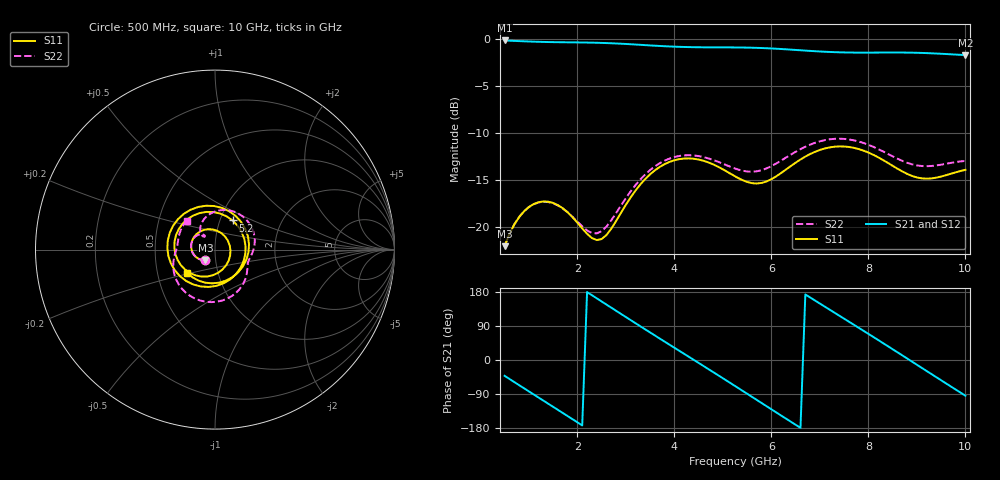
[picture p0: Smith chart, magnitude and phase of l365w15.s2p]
! Touchstone file exported from HFSS 3D Layout Design 2026.1.0
!  File:  D:/Work/ADS/HFSS_VERDICT/hfss_sma_connector_cpw.aedt
!  Generated:  02:39:46 PM Aug  6, 2026
!  Design:  SINGLE_END_SMA_CPW_30MM
!  Project:  hfss_sma_connector_cpw
! Variables:
!  $sma_Base_D = 6.25mm
!  $sma_Base_L = 8mm
!  $sma_Feet_L = 4mm
!  $sma_Feet_W = 1mm
!  $sma_Front_L = 1.5mm
!  $sma_Front_W = 6.5mm
!  $sma_Hole_D = 1.25mm
!  $sma_PTFE_D = 4.2mm
!  $sma_Pin_D = 0.95mm
!  $sma_Pin_P = 1.7mm
# GHz S MA R 50.000000
! Terminal data exported
! Port[1] = Port1
! Port[2] = S1_1_Pin_T1
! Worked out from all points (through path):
!   96 points, 500 MHz to 10 GHz, reference 50 ohm
!   highest |S21| = -0.12 dB at 500 MHz (marker M1); lowest = -1.7 dB at 10 GHz (marker M2)
!   group delay of S21, straight-line fit = 226 ps
!   lowest |S11| = -22.0 dB at 500 MHz (marker M3), VSWR 1.17, Z = 44.6 - j5.24 ohm
!   |S11| at or under -10 dB: start of sweep to end of sweep
!   |S22| runs from -22.0 to -10.6 dB; largest |S21 - S12| = 3.3e-14
!   S11 on the Smith chart (normalised r, x): 500 MHz: 0.89, -0.10; 5.2 GHz: 1.15, +0.39; 10 GHz: 0.71, -0.19
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0.5  0.07905 -132.4  0.9868 -41.8  0.9868 -41.8  0.07938 -133.0
0.9  0.1212 -166.4  0.9766 -74.6  0.9766 -74.6  0.1212 -165.7
1.3  0.1369 158.5  0.9692 -107.3  0.9692 -107.3  0.1363 164.4
1.7  0.1258 119.1  0.9652 -139.8  0.9652 -139.8  0.1255 139.6
2.1  0.09834 68.6  0.9626 -172.6  0.9626 -172.6  0.1008 126.5
2.5  0.08626 -2.8  0.9576 154.5  0.9576 154.5  0.09503 131.1
3  0.1313 -83.1  0.9451 113.4  0.9451 113.4  0.1425 125.4
3.3  0.1688 -117.1  0.9352 88.9  0.9352 88.9  0.1794 110.3
3.7  0.2092 -155.7  0.9222 56.5  0.9222 56.5  0.2188 84.8
4.4  0.2311 141.6  0.9086 0.3  0.9086 0.3  0.2407 37.4
4.8  0.2156 103.1  0.9066 -31.9  0.9066 -31.9  0.2277 13.1
5.2  0.1895 58.9  0.9059 -64.5  0.9059 -64.5  0.2073 -6.2
5.3  0.1833 46.5  0.9055 -72.6  0.9055 -72.6  0.203 -10.0
5.7  0.1705 -7.7  0.9011 -105.4  0.9011 -105.4  0.1981 -22.4
6.2  0.1939 -75.7  0.8886 -146.5  0.8886 -146.5  0.2259 -39.2
6.9  0.2517 -152.6  0.8649 156.9  0.8649 156.9  0.2811 -75.7
7.7  0.2642 131.1  0.8504 93.0  0.8504 93.0  0.2897 -124.3
8.1  0.2427 91.0  0.8503 60.9  0.8503 60.9  0.2677 -146.7
8.5  0.212 46.4  0.8512 28.5  0.8512 28.5  0.2381 -165.5
9.2  0.181 -44.3  0.845 -28.9  0.845 -28.9  0.2109 170.5
9.6  0.1888 -95.0  0.8355 -61.7  0.8355 -61.7  0.2172 155.1
10  0.2017 -139.4  0.8243 -94.2  0.8243 -94.2  0.225 134.8
